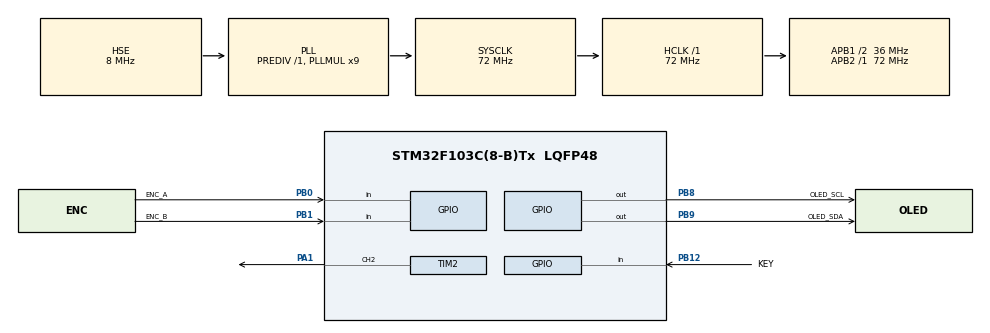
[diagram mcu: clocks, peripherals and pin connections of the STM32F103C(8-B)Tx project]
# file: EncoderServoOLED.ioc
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Mcu.Family=STM32F1
Mcu.Name=STM32F103C(8-B)Tx
Mcu.Package=LQFP48
NVIC.PriorityGroup=NVIC_PRIORITYGROUP_4
PA1.Signal=S_TIM2_CH2
PA13.Mode=Serial_Wire
PA13.Signal=SYS_JTMS-SWDIO
PA14.Mode=Serial_Wire
PA14.Signal=SYS_JTCK-SWCLK
PB0.GPIO_Label=ENC_A
PB0.GPIO_PuPd=GPIO_PULLUP
PB0.Signal=GPIO_Input
PB1.GPIO_Label=ENC_B
PB1.GPIO_PuPd=GPIO_PULLUP
PB1.Signal=GPIO_Input
PB12.GPIO_Label=KEY
PB12.GPIO_PuPd=GPIO_PULLUP
PB12.Signal=GPIO_Input
PB8.GPIO_Label=OLED_SCL
PB8.GPIO_ModeDefaultOutputPP=GPIO_MODE_OUTPUT_OD
PB8.GPIO_PuPd=GPIO_NOPULL
PB8.PinState=GPIO_PIN_SET
PB8.Signal=GPIO_Output
PB9.GPIO_Label=OLED_SDA
PB9.GPIO_ModeDefaultOutputPP=GPIO_MODE_OUTPUT_OD
PB9.GPIO_PuPd=GPIO_NOPULL
PB9.PinState=GPIO_PIN_SET
PB9.Signal=GPIO_Output
PD0-OSC_IN.Mode=HSE-External-Oscillator
PD0-OSC_IN.Signal=RCC_OSC_IN
PD1-OSC_OUT.Mode=HSE-External-Oscillator
PD1-OSC_OUT.Signal=RCC_OSC_OUT
ProjectManager.HeapSize=0x200
ProjectManager.StackSize=0x400
ProjectManager.TargetToolchain=CMake
RCC.AHBFreq_Value=72000000
RCC.APB1CLKDivider=RCC_HCLK_DIV2
RCC.APB1Freq_Value=36000000
RCC.APB1TimFreq_Value=72000000
RCC.APB2Freq_Value=72000000
RCC.APB2TimFreq_Value=72000000
RCC.HCLKFreq_Value=72000000
RCC.PLLMUL=RCC_PLL_MUL9
RCC.PLLSourceVirtual=RCC_PLLSOURCE_HSE
RCC.SYSCLKFreq_VALUE=72000000
RCC.SYSCLKSource=RCC_SYSCLKSOURCE_PLLCLK
RCC.USBFreq_Value=72000000
SH.S_TIM2_CH2.0=TIM2_CH2,PWM Generation2 CH2
TIM2.Channel-PWM\ Generation2\ CH2=TIM_CHANNEL_2
TIM2.Period=19999
TIM2.Prescaler=71
TIM2.Pulse-PWM\ Generation2\ CH2=1500
VP_TIM2_VS_ClockSourceINT.Mode=Internal
board=custom

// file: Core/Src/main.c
/* USER CODE BEGIN Header */
/**
  ******************************************************************************
  * @file           : main.c
  * @brief          : Main program body
  ******************************************************************************
  * @attention
  *
  * Copyright (c) 2026 STMicroelectronics.
  * All rights reserved.
  *
  * This software is licensed under terms that can be found in the LICENSE file
  * in the root directory of this software component.
  * If no LICENSE file comes with this software, it is provided AS-IS.
  *
  ******************************************************************************
  */
/* USER CODE END Header */
#include "main.h"

/* USER CODE BEGIN Includes */
#include "encoder.h"
#include "key.h"
#include "servo.h"
#include "servo_scan.h"
#include "oled.h"
#include <stdbool.h>
#include <stdint.h>
#include <stdio.h>
/* USER CODE END Includes */

/* USER CODE BEGIN PD */
#define AUTO_MIN_ANGLE        0
#define AUTO_MAX_ANGLE        180
#define AUTO_STEP_DEG         1
#define AUTO_INTERVAL_MS      30U
#define AUTO_OLED_INTERVAL_MS 90U
/* USER CODE END PD */

TIM_HandleTypeDef htim2;

/* USER CODE BEGIN PV */
static OLED_HandleTypeDef oled;
static Servo_HandleTypeDef servo;
static ServoScan_HandleTypeDef scanner;
/* USER CODE END PV */

void SystemClock_Config(void);
static void MX_GPIO_Init(void);
static void MX_TIM2_Init(void);

/* USER CODE BEGIN 0 */
static void Display_Mode(void)
{
  OLED_ClearLine(&oled, 2U);
  OLED_SetCursor(&oled, 2U, 0U);
  OLED_DrawString(&oled, ServoScan_IsRunning(&scanner) ? "Mode: AUTO" : "Mode: MANUAL");
}

static void Display_Angle(int16_t angle)
{
  char line[24];
  (void)snprintf(line, sizeof(line), "Angle: %3u deg", (unsigned int)angle);
  OLED_ClearLine(&oled, 4U);
  OLED_SetCursor(&oled, 4U, 0U);
  OLED_DrawString(&oled, line);
}

static void Display_Count(int32_t count)
{
  char line[24];
  (void)snprintf(line, sizeof(line), "Count: %3ld", (long)count);
  OLED_ClearLine(&oled, 6U);
  OLED_SetCursor(&oled, 6U, 0U);
  OLED_DrawString(&oled, line);
}
/* USER CODE END 0 */

int main(void)
{

  /* MCU Configuration--------------------------------------------------------*/

  /* Reset of all peripherals, Initializes the Flash interface and the Systick. */
  HAL_Init();

  /* Configure the system clock */
  SystemClock_Config();

  /* Initialize all configured peripherals */
  MX_GPIO_Init();
  MX_TIM2_Init();
  /* USER CODE BEGIN 2 */
  OLED_Config(&oled, OLED_SCL_GPIO_Port, OLED_SCL_Pin,
              OLED_SDA_GPIO_Port, OLED_SDA_Pin, 0x3CU);
  OLED_Init(&oled);
  Encoder_Init();
  Key_Init();
  if (Servo_Init(&servo, &htim2, TIM_CHANNEL_2,
                 SERVO_MIN_PULSE_US, SERVO_CENTER_PULSE_US,
                 SERVO_MAX_PULSE_US) != HAL_OK) {
    Error_Handler();
  }
  ServoScan_Init(&scanner, &servo, AUTO_MIN_ANGLE, AUTO_MAX_ANGLE,
                 AUTO_STEP_DEG, AUTO_INTERVAL_MS);

  Servo_SetAngle(&servo, SERVO_CENTER_ANGLE);
  int32_t encoder_count = 0;
  bool angle_pending = false;
  bool count_pending = false;
  uint32_t oled_last_tick = HAL_GetTick();
  OLED_SetCursor(&oled, 0U, 0U);
  OLED_DrawString(&oled, "Encoder Servo");
  Display_Mode();
  Display_Angle(Servo_GetAngle(&servo));
  Display_Count(encoder_count);
  OLED_Update(&oled);
  /* USER CODE END 2 */

  /* Infinite loop */
  while (1)
  {

    /* USER CODE BEGIN 3 */
    uint32_t now = HAL_GetTick();
    bool stopped_this_cycle = false;

    if (Key_WasPressed()) {
      if (ServoScan_IsRunning(&scanner)) {
        ServoScan_StopAndCenter(&scanner, SERVO_CENTER_ANGLE);
        stopped_this_cycle = true;
        angle_pending = true;
      } else {
        ServoScan_Start(&scanner, now);
      }
      Display_Mode();
    }

    int8_t step;
    while ((step = Encoder_GetStep()) != 0) {
      encoder_count = Encoder_GetCount();
      count_pending = true;
      if (!ServoScan_IsRunning(&scanner) && !stopped_this_cycle) {
        int16_t current_angle = Servo_GetAngle(&servo);
        int16_t next_angle = current_angle + (int16_t)step * 5;
        if (next_angle < (int16_t)SERVO_MIN_ANGLE) {
          next_angle = SERVO_MIN_ANGLE;
        } else if (next_angle > (int16_t)SERVO_MAX_ANGLE) {
          next_angle = SERVO_MAX_ANGLE;
        }
        if (next_angle != current_angle) {
          Servo_SetAngle(&servo, next_angle);
          angle_pending = true;
        }
      }
    }

    now = HAL_GetTick();
    int16_t angle_before_scan = Servo_GetAngle(&servo);
    ServoScan_Update(&scanner, now);
    if (Servo_GetAngle(&servo) != angle_before_scan) {
      angle_pending = true;
    }

    if (!ServoScan_IsRunning(&scanner) ||
        (uint32_t)(now - oled_last_tick) >= AUTO_OLED_INTERVAL_MS) {
      if (angle_pending) {
        Display_Angle(Servo_GetAngle(&servo));
        angle_pending = false;
      }
      if (count_pending) {
        Display_Count(encoder_count);
        count_pending = false;
      }
      oled_last_tick = now;
    }
    OLED_UpdateSlice(&oled);
  }
  /* USER CODE END 3 */
}

void SystemClock_Config(void)
{
  RCC_OscInitTypeDef RCC_OscInitStruct = {0};
  RCC_ClkInitTypeDef RCC_ClkInitStruct = {0};

  /** Initializes the RCC Oscillators according to the specified parameters
  * in the RCC_OscInitTypeDef structure.
  */
  RCC_OscInitStruct.OscillatorType = RCC_OSCILLATORTYPE_HSE;
  RCC_OscInitStruct.HSEState = RCC_HSE_ON;
  RCC_OscInitStruct.HSEPredivValue = RCC_HSE_PREDIV_DIV1;
  RCC_OscInitStruct.HSIState = RCC_HSI_ON;
  RCC_OscInitStruct.PLL.PLLState = RCC_PLL_ON;
  RCC_OscInitStruct.PLL.PLLSource = RCC_PLLSOURCE_HSE;
  RCC_OscInitStruct.PLL.PLLMUL = RCC_PLL_MUL9;
  if (HAL_RCC_OscConfig(&RCC_OscInitStruct) != HAL_OK)
  {
    Error_Handler();
  }

  /** Initializes the CPU, AHB and APB buses clocks
  */
  RCC_ClkInitStruct.ClockType = RCC_CLOCKTYPE_HCLK|RCC_CLOCKTYPE_SYSCLK
                              |RCC_CLOCKTYPE_PCLK1|RCC_CLOCKTYPE_PCLK2;
  RCC_ClkInitStruct.SYSCLKSource = RCC_SYSCLKSOURCE_PLLCLK;
  RCC_ClkInitStruct.AHBCLKDivider = RCC_SYSCLK_DIV1;
  RCC_ClkInitStruct.APB1CLKDivider = RCC_HCLK_DIV2;
  RCC_ClkInitStruct.APB2CLKDivider = RCC_HCLK_DIV1;

  if (HAL_RCC_ClockConfig(&RCC_ClkInitStruct, FLASH_LATENCY_2) != HAL_OK)
  {
    Error_Handler();
  }
}

static void MX_TIM2_Init(void)
{

  TIM_ClockConfigTypeDef sClockSourceConfig = {0};
  TIM_MasterConfigTypeDef sMasterConfig = {0};
  TIM_OC_InitTypeDef sConfigOC = {0};

  htim2.Instance = TIM2;
  htim2.Init.Prescaler = 71;
  htim2.Init.CounterMode = TIM_COUNTERMODE_UP;
  htim2.Init.Period = 19999;
  htim2.Init.ClockDivision = TIM_CLOCKDIVISION_DIV1;
  htim2.Init.AutoReloadPreload = TIM_AUTORELOAD_PRELOAD_DISABLE;
  if (HAL_TIM_Base_Init(&htim2) != HAL_OK)
  {
    Error_Handler();
  }
  sClockSourceConfig.ClockSource = TIM_CLOCKSOURCE_INTERNAL;
  if (HAL_TIM_ConfigClockSource(&htim2, &sClockSourceConfig) != HAL_OK)
  {
    Error_Handler();
  }
  if (HAL_TIM_PWM_Init(&htim2) != HAL_OK)
  {
    Error_Handler();
  }
  sMasterConfig.MasterOutputTrigger = TIM_TRGO_RESET;
  sMasterConfig.MasterSlaveMode = TIM_MASTERSLAVEMODE_DISABLE;
  if (HAL_TIMEx_MasterConfigSynchronization(&htim2, &sMasterConfig) != HAL_OK)
  {
    Error_Handler();
  }
  sConfigOC.OCMode = TIM_OCMODE_PWM1;
  sConfigOC.Pulse = 1500;
  sConfigOC.OCPolarity = TIM_OCPOLARITY_HIGH;
  sConfigOC.OCFastMode = TIM_OCFAST_DISABLE;
  if (HAL_TIM_PWM_ConfigChannel(&htim2, &sConfigOC, TIM_CHANNEL_2) != HAL_OK)
  {
    Error_Handler();
  }
  HAL_TIM_MspPostInit(&htim2);

}

static void MX_GPIO_Init(void)
{
  GPIO_InitTypeDef GPIO_InitStruct = {0};

  /* GPIO Ports Clock Enable */
  __HAL_RCC_GPIOD_CLK_ENABLE();
  __HAL_RCC_GPIOA_CLK_ENABLE();
  __HAL_RCC_GPIOB_CLK_ENABLE();

  /*Configure GPIO pin Output Level */
  HAL_GPIO_WritePin(GPIOB, GPIO_PIN_8|GPIO_PIN_9, GPIO_PIN_SET);

  /*Configure GPIO pins : ENC_A_Pin ENC_B_Pin KEY_Pin */
  GPIO_InitStruct.Pin = ENC_A_Pin|ENC_B_Pin|KEY_Pin;
  GPIO_InitStruct.Mode = GPIO_MODE_INPUT;
  GPIO_InitStruct.Pull = GPIO_PULLUP;
  HAL_GPIO_Init(GPIOB, &GPIO_InitStruct);

  /*Configure GPIO pins : PB8 PB9 */
  GPIO_InitStruct.Pin = GPIO_PIN_8|GPIO_PIN_9;
  GPIO_InitStruct.Mode = GPIO_MODE_OUTPUT_OD;
  GPIO_InitStruct.Pull = GPIO_NOPULL;
  GPIO_InitStruct.Speed = GPIO_SPEED_FREQ_LOW;
  HAL_GPIO_Init(GPIOB, &GPIO_InitStruct);

}

void Error_Handler(void)
{
  __disable_irq();
  while (1)
  {
  }
}
